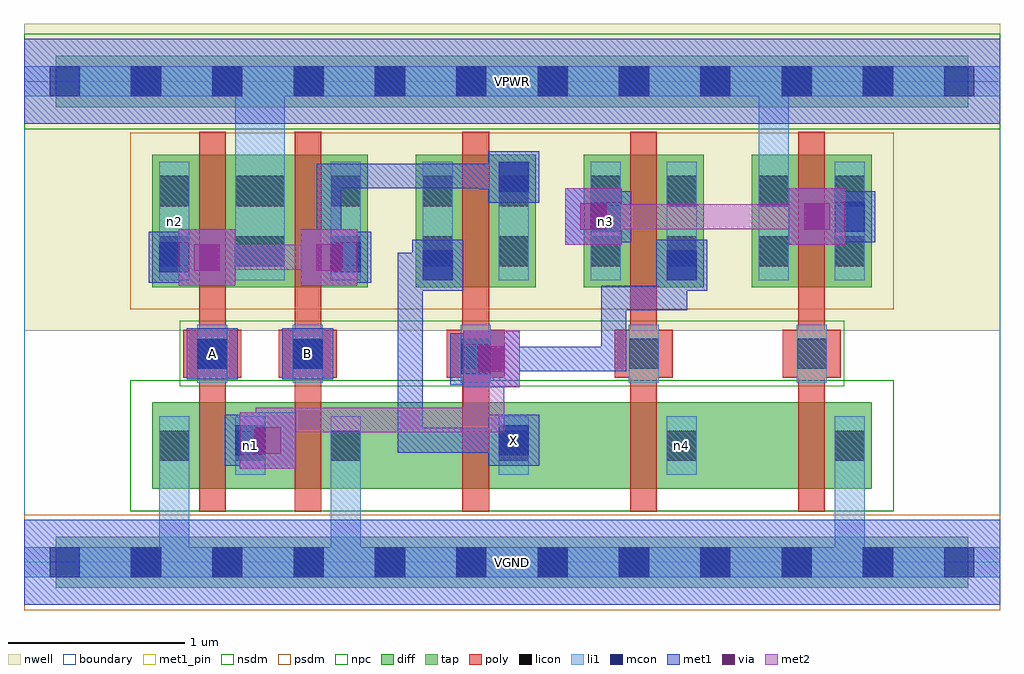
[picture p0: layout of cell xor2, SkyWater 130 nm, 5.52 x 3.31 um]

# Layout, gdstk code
import gdstk
lib = gdstk.Library(unit=1e-6, precision=1e-09)
def R(c, l, rs):  # rectangles x0, y0, x1, y1
    for r in rs: c.add(gdstk.rectangle(r[:2], r[2:], *l))
def A(c, l, x, y, w, h, nx, ny, dx, dy):  # array of equal rectangles
    R(c, l, [(x+i*dx, y+j*dy, x+i*dx+w, y+j*dy+h) for i in range(nx) for j in range(ny)])
nwell = (64, 20)
diff = (65, 20)
tap = (65, 44)
poly = (66, 20)
licon = (66, 44)
li1 = (67, 20)
mcon = (67, 44)
met1_pin = (68, 16)
met1 = (68, 20)
via = (68, 44)
met2 = (69, 20)
nsdm = (93, 44)
psdm = (94, 20)
npc = (95, 20)
boundary = (235, 4)

xor2 = lib.new_cell('xor2')
R(xor2, nwell, [(0,1.31,5.52,3.045)])
A(xor2, diff, 1.265, 1.555, 0.68, 0.75, 4, 1, 0.95, 0)
R(xor2, diff, [(0.725,0.415,4.795,0.905), (0.725,1.555,1.405,2.305)])
R(xor2, tap, [(0.18,-0.145,5.34,0.145), (0.18,2.575,5.34,2.865)])
A(xor2, poly, 1.53, 0.285, 0.15, 2.15, 4, 1, 0.95, 0)
A(xor2, poly, 1.44, 1.045, 0.33, 0.27, 4, 1, 0.95, 0)
R(xor2, poly, [(0.99,0.285,1.14,2.435), (0.9,1.045,1.23,1.315)])
A(xor2, licon, 0.605, -0.085, 0.17, 0.17, 10, 2, 0.46, 2.72)
A(xor2, licon, 1.735, 0.575, 0.17, 0.17, 4, 1, 0.95, 0)
A(xor2, licon, 1.52, 1.095, 0.17, 0.17, 4, 1, 0.95, 0)
R(xor2, licon, [(0.765,0.575,0.935,0.745), (1.195,0.575,1.365,0.745), (0.98,1.095,1.15,1.265), (0.765,1.675,0.935,1.845), (1.195,1.675,1.365,1.845), (1.305,1.675,1.475,1.845), (1.735,1.675,1.905,1.845), (2.255,1.675,2.425,1.845), (2.685,1.675,2.855,1.845), (3.205,1.675,3.375,1.845), (3.635,1.675,3.805,1.845), (4.155,1.675,4.325,1.845), (4.585,1.675,4.755,1.845), (0.765,2.015,0.935,2.185), (1.195,2.015,1.365,2.185), (1.305,2.015,1.475,2.185), (1.735,2.015,1.905,2.185), (2.255,2.015,2.425,2.185), (2.685,2.015,2.855,2.185), (3.205,2.015,3.375,2.185), (3.635,2.015,3.805,2.185), (4.155,2.015,4.325,2.185), (4.585,2.015,4.755,2.185)])
A(xor2, li1, 1.735, 0.495, 0.17, 0.33, 4, 1, 0.95, 0)
A(xor2, li1, 1.52, 1.015, 0.17, 0.33, 4, 1, 0.95, 0)
R(xor2, li1, [(0,-0.085,5.52,0.085), (0.765,-0.085,0.935,0.825), (1.735,-0.085,1.905,0.825), (4.585,-0.085,4.755,0.825), (0.765,0.495,0.935,0.825), (1.195,0.495,1.365,0.825), (0.98,1.015,1.15,1.345), (0.765,1.595,0.935,2.265), (1.195,1.595,1.365,2.265), (1.195,1.595,1.365,2.805), (1.305,1.595,1.475,2.265), (1.305,1.595,1.475,2.805), (1.735,1.595,1.905,2.265), (2.255,1.595,2.425,2.265), (2.685,1.595,2.855,2.265), (3.205,1.595,3.375,2.265), (3.635,1.595,3.805,2.265), (4.155,1.595,4.325,2.265), (4.155,1.595,4.325,2.805), (4.585,1.595,4.755,2.265), (0,2.635,5.52,2.805)])
A(xor2, mcon, 0.145, -0.085, 0.17, 0.17, 12, 2, 0.46, 2.72)
R(xor2, mcon, [(1.195,0.605,1.365,0.775), (2.685,0.605,2.855,0.775), (2.47,1.065,2.64,1.235), (0.98,1.095,1.15,1.265), (1.52,1.095,1.69,1.265), (2.255,1.595,2.425,1.765), (3.635,1.595,3.805,1.765), (0.765,1.64,0.935,1.81), (1.735,1.64,1.905,1.81), (3.205,1.87,3.375,2.04), (4.585,1.87,4.755,2.04), (2.685,2.095,2.855,2.265)])
R(xor2, met1_pin, [(0,-0.24,5.52,0.24), (2.625,0.545,2.915,0.835), (0.92,1.035,1.21,1.325), (1.46,1.035,1.75,1.325), (0,2.48,5.52,2.96)])
R(xor2, met1, [(0,-0.24,5.52,0.24), (1.22,0.53,1.54,0.85), (1.135,0.545,1.425,0.835), (2.625,0.545,2.915,0.835), (1.21,0.62,1.45,0.76), (2.115,0.62,2.715,0.76), (2.115,0.62,2.255,1.565), (2.575,0.62,2.84,0.76), (2.485,0.99,2.805,1.31), (2.41,1.005,2.7,1.295), (0.92,1.035,1.21,1.325), (1.46,1.035,1.75,1.325), (2.485,1.08,2.715,1.22), (2.575,1.08,3.405,1.22), (3.265,1.08,3.405,1.565), (2.115,1.425,2.255,1.75), (3.265,1.425,3.75,1.565), (3.61,1.425,3.75,1.75), (2.195,1.535,2.485,1.825), (3.575,1.535,3.865,1.825), (0.875,1.565,1.195,1.885), (1.565,1.565,1.885,1.885), (0.705,1.58,0.995,1.87), (1.675,1.58,1.965,1.87), (2.115,1.61,2.41,1.75), (3.61,1.61,3.79,1.75), (0.78,1.655,1.105,1.795), (1.655,1.655,1.89,1.795), (1.655,1.655,1.795,2.255), (3.06,1.795,3.38,2.115), (4.325,1.795,4.645,2.115), (3.145,1.81,3.435,2.1), (4.525,1.81,4.815,2.1), (3.15,1.885,3.36,2.025), (4.415,1.885,4.74,2.025), (2.625,2.035,2.915,2.325), (2.575,2.11,2.84,2.25), (2.575,2.11,2.715,2.255), (1.655,2.115,2.715,2.255), (0,2.48,5.52,2.96)])
R(xor2, via, [(1.305,0.615,1.455,0.765), (2.57,1.075,2.72,1.225), (0.96,1.65,1.11,1.8), (1.65,1.65,1.8,1.8), (3.145,1.88,3.295,2.03), (4.41,1.88,4.56,2.03)])
R(xor2, met2, [(1.22,0.53,1.54,0.85), (1.31,0.62,1.45,0.875), (1.31,0.735,2.715,0.875), (2.575,0.735,2.715,1.22), (2.485,0.875,2.715,0.99), (2.485,0.99,2.805,1.31), (0.875,1.565,1.195,1.885), (1.565,1.565,1.885,1.885), (0.965,1.655,1.795,1.795), (3.06,1.795,3.38,2.115), (4.325,1.795,4.645,2.115), (3.15,1.885,4.555,2.025)])
R(xor2, nsdm, [(0.6,0.29,4.92,1.03), (0,2.45,5.52,2.99)])
R(xor2, psdm, [(0,-0.27,5.52,0.27), (0.6,1.43,4.92,2.43)])
R(xor2, npc, [(0.88,0.995,4.64,1.365)])
R(xor2, boundary, [(0,0,5.52,2.72)])
xor2.add(gdstk.Label('n1', (1.28,0.66), layer=67, texttype=5))
xor2.add(gdstk.Label('n4', (3.72,0.66), layer=67, texttype=5))
xor2.add(gdstk.Label('n2', (0.85,1.93), layer=67, texttype=5))
xor2.add(gdstk.Label('n3', (3.29,1.93), layer=67, texttype=5))
xor2.add(gdstk.Label('A', (1.065,1.18), layer=68, texttype=5))
xor2.add(gdstk.Label('B', (1.605,1.18), layer=68, texttype=5))
xor2.add(gdstk.Label('X', (2.77,0.69), layer=68, texttype=5))
xor2.add(gdstk.Label('VPWR', (2.76,2.72), layer=68, texttype=5))
xor2.add(gdstk.Label('VGND', (2.76,0), layer=68, texttype=5))
xor2.add(gdstk.Label('A', (1.065,1.18), layer=68, texttype=16))
xor2.add(gdstk.Label('B', (1.605,1.18), layer=68, texttype=16))
xor2.add(gdstk.Label('X', (2.77,0.69), layer=68, texttype=16))
xor2.add(gdstk.Label('VPWR', (2.76,2.72), layer=68, texttype=16))
xor2.add(gdstk.Label('VGND', (2.76,0), layer=68, texttype=16))

lib.write_gds('xor2.gds')
